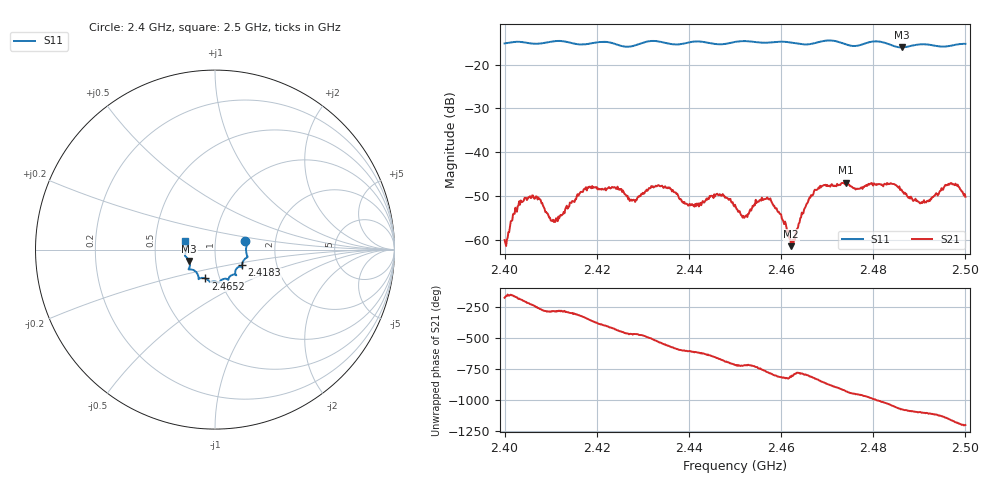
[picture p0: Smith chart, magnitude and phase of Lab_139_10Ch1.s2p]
# Hz S RI R 50
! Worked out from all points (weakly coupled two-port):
!   601 points, 2.4 GHz to 2.5 GHz, reference 50 ohm
!   highest |S21| = -46.94 dB at 2.474 GHz (marker M1); lowest = -61.4 dB at 2.4622 GHz (marker M2)
!   lowest |S11| = -16.1 dB at 2.4862 GHz (marker M3), VSWR 1.37, Z = 37.2 - j4.87 ohm
!   |S11| at or under -10 dB: start of sweep to end of sweep
!   S12 and S22 are empty: the file has one direction only
!   S11 on the Smith chart (normalised r, x): 2.4 GHz: 1.40, +0.13; 2.4183 GHz: 1.33, -0.24; 2.4652 GHz: 0.85, -0.28; 2.5 GHz: 0.71, +0.07
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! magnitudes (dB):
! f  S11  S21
! 2.4 GHz  -15.2  -60.1
! 2.404 GHz  -14.9  -51.2
! 2.4073 GHz  -15.2  -50.3
! 2.4105 GHz  -14.7  -55.4
! 2.4167 GHz  -15.4  -49.0
! 2.4183 GHz  -15.2  -47.9
! 2.4282 GHz  -15.7  -51.0
! 2.4333 GHz  -14.7  -47.5
! 2.4398 GHz  -15.0  -52.2
! 2.4463 GHz  -15.4  -49.7
! 2.45 GHz  -14.8  -52.0
! 2.4522 GHz  -14.7  -54.7
! 2.4573 GHz  -15.0  -50.7
! 2.4622 GHz  -15.0  -61.4
! 2.4652 GHz  -15.4  -52.7
! 2.4667 GHz  -15.3  -49.9
! 2.474 GHz  -15.3  -46.9
! 2.4833 GHz  -15.3  -47.2
! 2.4862 GHz  -16.1  -48.6
! 2.4903 GHz  -15.4  -51.6
! 2.4968 GHz  -15.7  -47.1
! 2.5 GHz  -15.3  -50.2
